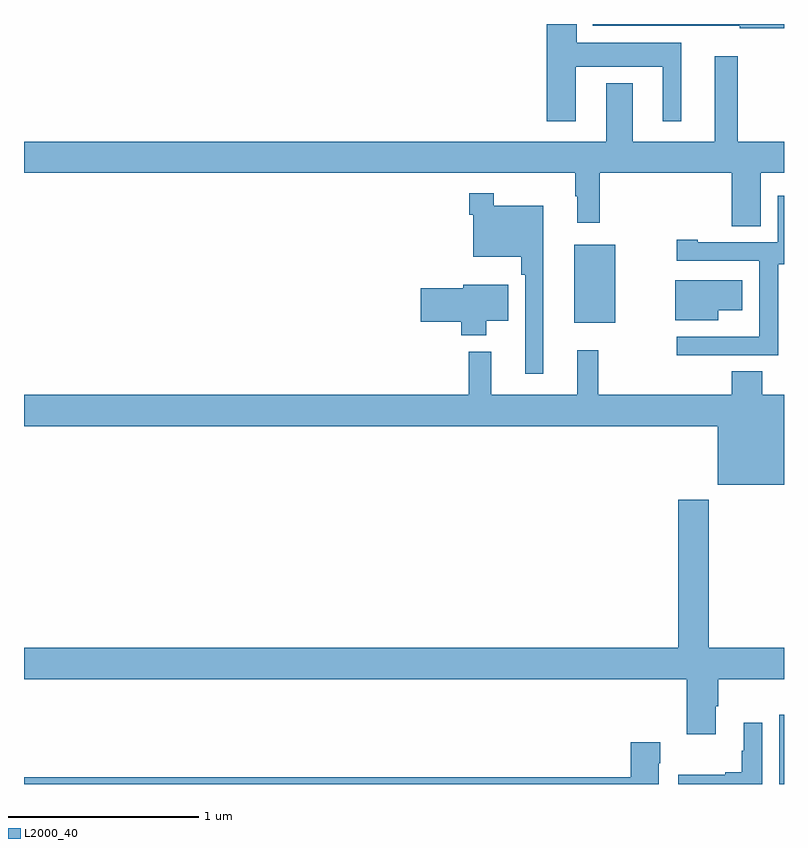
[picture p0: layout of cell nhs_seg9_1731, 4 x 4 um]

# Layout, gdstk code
import gdstk
lib = gdstk.Library(unit=1e-6, precision=1e-09)
def R(c, l, rs):  # rectangles x0, y0, x1, y1
    for r in rs: c.add(gdstk.rectangle(r[:2], r[2:], *l))
def P(c, l, *ps):  # polygons
    for p in ps: c.add(gdstk.Polygon(p, *l))
L2000_40 = (2000, 40)

nhs_seg9_1731 = lib.new_cell('nhs_seg9_1731')
R(nhs_seg9_1731, L2000_40, [(210.975,1230.5,211,1230.864), (209.897,1232.927,210.112,1233.337)])
P(nhs_seg9_1731, L2000_40, [(211,1234.5),(209.993,1234.5),(209.993,1234.491),(210.549,1234.491),(210.549,1234.49),(210.768,1234.49),(210.768,1234.478),(211,1234.478)],
  [(209.905,1234.274),(210.362,1234.274),(210.362,1233.987),(210.46,1233.987),(210.46,1234.402),(209.908,1234.402),(209.908,1234.5),(209.75,1234.5),(209.75,1233.987),(209.905,1233.987)],
  [(210.877,1233.716),(211,1233.716),(211,1233.88),(210.757,1233.88),(210.757,1234.33),(210.635,1234.33),(210.635,1233.88),(210.205,1233.88),(210.205,1234.189),(210.065,1234.189),(210.065,1233.88),(207,1233.88),(207,1233.716),(209.901,1233.716),(209.901,1233.593),(209.912,1233.593),(209.912,1233.453),(210.029,1233.453),(210.029,1233.716),(210.725,1233.716),(210.725,1233.436),(210.877,1233.436)],
  [(209.734,1233.544),(209.473,1233.544),(209.473,1233.61),(209.344,1233.61),(209.344,1233.497),(209.364,1233.497),(209.364,1233.275),(209.617,1233.275),(209.617,1233.179),(209.637,1233.179),(209.637,1232.658),(209.734,1232.658)],
  [(210.969,1233.235),(211,1233.235),(211,1233.597),(210.966,1233.597),(210.966,1233.351),(210.547,1233.351),(210.547,1233.364),(210.435,1233.364),(210.435,1233.255),(210.87,1233.255),(210.87,1232.854),(210.869,1232.854),(210.869,1232.853),(210.435,1232.853),(210.435,1232.757),(210.969,1232.757)],
  [(210.655,1232.993),(210.781,1232.993),(210.781,1233.151),(210.428,1233.151),(210.428,1232.942),(210.655,1232.942)],
  [(209.434,1232.939),(209.548,1232.939),(209.548,1233.127),(209.312,1233.127),(209.312,1233.11),(209.088,1233.11),(209.088,1232.932),(209.3,1232.932),(209.3,1232.861),(209.434,1232.861)],
  [(211,1232.548),(210.885,1232.548),(210.885,1232.672),(210.725,1232.672),(210.725,1232.548),(210.022,1232.548),(210.022,1232.782),(209.912,1232.782),(209.912,1232.548),(209.459,1232.548),(209.459,1232.776),(209.341,1232.776),(209.341,1232.548),(207,1232.548),(207,1232.384),(210.65,1232.384),(210.65,1232.075),(211,1232.075)],
  [(210.64,1230.91),(210.653,1230.91),(210.653,1231.052),(211,1231.052),(211,1231.216),(210.603,1231.216),(210.603,1231.996),(210.443,1231.996),(210.443,1231.216),(207,1231.216),(207,1231.052),(210.488,1231.052),(210.488,1230.762),(210.64,1230.762)],
  [(210.885,1230.823),(210.788,1230.823),(210.788,1230.674),(210.777,1230.674),(210.777,1230.563),(210.692,1230.563),(210.692,1230.55),(210.444,1230.55),(210.444,1230.5),(210.885,1230.5)],
  [(210.34,1230.608),(210.348,1230.608),(210.348,1230.721),(210.194,1230.721),(210.194,1230.536),(207,1230.536),(207,1230.5),(210.34,1230.5)])

lib.write_gds('nhs_seg9_1731.gds')
